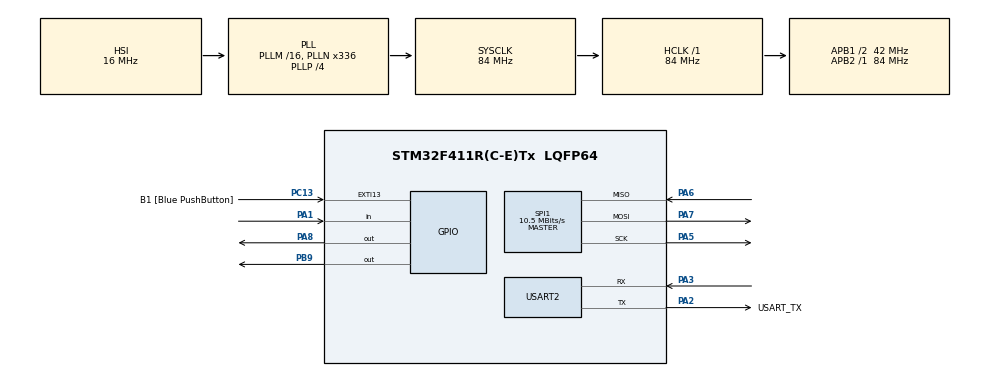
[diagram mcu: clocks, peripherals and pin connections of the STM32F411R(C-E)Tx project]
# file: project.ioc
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Mcu.Family=STM32F4
Mcu.Name=STM32F411R(C-E)Tx
Mcu.Package=LQFP64
NVIC.PriorityGroup=NVIC_PRIORITYGROUP_0
PA0-WKUP.Signal=S_TIM2_CH1_ETR
PA1.Signal=GPIO_Input
PA13.Mode=Serial_Wire
PA13.Signal=SYS_JTMS-SWDIO
PA14.GPIO_Label=TCK
PA14.Mode=Serial_Wire
PA14.Signal=SYS_JTCK-SWCLK
PA2.GPIO_Label=USART_TX
PA2.Mode=Asynchronous
PA2.Signal=USART2_TX
PA3.Mode=Asynchronous
PA3.Signal=USART2_RX
PA5.Mode=Full_Duplex_Master
PA5.Signal=SPI1_SCK
PA6.Mode=Full_Duplex_Master
PA6.Signal=SPI1_MISO
PA7.Mode=Full_Duplex_Master
PA7.Signal=SPI1_MOSI
PA8.Signal=GPIO_Output
PB3.GPIO_Label=SWO
PB3.Signal=SYS_JTDO-SWO
PB9.Signal=GPIO_Output
PC13-ANTI_TAMP.GPIO_Label=B1 [Blue PushButton]
PC13-ANTI_TAMP.GPIO_ModeDefaultEXTI=GPIO_MODE_IT_FALLING
PC13-ANTI_TAMP.Signal=GPXTI13
PC14-OSC32_IN.Mode=LSE-External-Oscillator
PC14-OSC32_IN.Signal=RCC_OSC32_IN
PC15-OSC32_OUT.Mode=LSE-External-Oscillator
PC15-OSC32_OUT.Signal=RCC_OSC32_OUT
PH0\ -\ OSC_IN.Mode=HSE-External-Oscillator
PH0\ -\ OSC_IN.Signal=RCC_OSC_IN
PH1\ -\ OSC_OUT.Mode=HSE-External-Oscillator
PH1\ -\ OSC_OUT.Signal=RCC_OSC_OUT
ProjectManager.HeapSize=0x200
ProjectManager.StackSize=0x400
ProjectManager.TargetToolchain=STM32CubeIDE
RCC.48MHZClocksFreq_Value=84000000
RCC.AHBFreq_Value=84000000
RCC.APB1CLKDivider=RCC_HCLK_DIV2
RCC.APB1Freq_Value=42000000
RCC.APB1TimFreq_Value=84000000
RCC.APB2Freq_Value=84000000
RCC.APB2TimFreq_Value=84000000
RCC.CortexFreq_Value=84000000
RCC.FLatency-AdvancedSettings=FLASH_LATENCY_2
RCC.HCLKFreq_Value=84000000
RCC.HSE_VALUE=8000000
RCC.HSI_VALUE=16000000
RCC.PLLN=336
RCC.PLLP=RCC_PLLP_DIV4
RCC.SYSCLKFreq_VALUE=84000000
RCC.SYSCLKSource=RCC_SYSCLKSOURCE_PLLCLK
RCC.VCOOutputFreq_Value=336000000
SH.S_TIM2_CH1_ETR.0=TIM2_CH1
SPI1.BaudRatePrescaler=SPI_BAUDRATEPRESCALER_8
SPI1.CalculateBaudRate=10.5 MBits/s
SPI1.Direction=SPI_DIRECTION_2LINES
SPI1.Mode=SPI_MODE_MASTER
SPI1.VirtualType=VM_MASTER
TIM2.Channel-PWM\ Generation1\ No\ Output=TIM_CHANNEL_1
TIM2.Channel-PWM\ Generation2\ No\ Output=TIM_CHANNEL_2
TIM2.Channel-PWM\ Generation4\ No\ Output=TIM_CHANNEL_4
USART2.VirtualMode=VM_ASYNC
VP_TIM2_VS_no_output1.Mode=PWM Generation1 No Output
VP_TIM2_VS_no_output2.Mode=PWM Generation2 No Output
VP_TIM2_VS_no_output4.Mode=PWM Generation4 No Output
board=NUCLEO-F411RE

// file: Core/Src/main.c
/* USER CODE BEGIN Header */
/**
  ******************************************************************************
  * @file           : main.c
  * @brief          : Main program body
  ******************************************************************************
  * @attention
  *
  * Copyright (c) 2025 STMicroelectronics.
  * All rights reserved.
  *
  * This software is licensed under terms that can be found in the LICENSE file
  * in the root directory of this software component.
  * If no LICENSE file comes with this software, it is provided AS-IS.
  *
  ******************************************************************************
  */
/* USER CODE END Header */
#include "main.h"
#include "tim.h"
#include "gpio.h"
#include "RC522.h"
#include "string.h"
#include "usart.h"
#include "stm32f4xx_hal.h"
#include "spi.h"
#include "stdio.h"

/* USER CODE BEGIN PV */

uint8_t status;
uint8_t str[16];
uint8_t sNum[5];

uint8_t flag = 1;

/* USER CODE END PV */

void SystemClock_Config(void);

/* USER CODE BEGIN 0 */

// Função para tocar o buzzer
void playTone(uint16_t frequency) {
    uint32_t timerClock = 84000000; // Clock do timer (84 MHz)
    uint32_t prescaler = 16;
    uint32_t period = (timerClock / (prescaler * frequency)) - 1;

    __HAL_TIM_SET_PRESCALER(&htim2, prescaler - 1);
    __HAL_TIM_SET_AUTORELOAD(&htim2, period);
    __HAL_TIM_SET_COMPARE(&htim2, TIM_CHANNEL_1, period / 2); // 50% duty cycle

    HAL_TIM_PWM_Start(&htim2, TIM_CHANNEL_1);
}

// Função para parar o buzzer
void stopTone() {
    HAL_TIM_PWM_Stop(&htim2, TIM_CHANNEL_1);
}

/* USER CODE END 0 */

int main(void)
{

  /* MCU Configuration--------------------------------------------------------*/

  /* Reset of all peripherals, Initializes the Flash interface and the Systick. */
	HAL_Init();

  /* Configure the system clock */
  SystemClock_Config();

  /* Initialize all configured peripherals */
  MX_GPIO_Init();
  MX_TIM2_Init();
  MX_USART2_UART_Init();
  MX_SPI1_Init();

  /* USER CODE BEGIN 2 */

  MFRC522_Init();

  /* USER CODE END 2 */

  /* Infinite loop */
  /* USER CODE BEGIN WHILE */

  //GPIO_PinState sensorState = GPIO_PIN_RESET; // Começa com o sensor em estado RESET

  while (1) {
      HAL_Delay(5);  // Pequeno delay para evitar leituras contínuas excessivas

      // Tenta ler o cartão RFID
      status = MFRC522_Request(PICC_REQIDL, str);
      status = MFRC522_Anticoll(str);
      memcpy(sNum, str, 5);

      // Verifica se o cartão autorizado foi detectado
      if((str[0] == 239) && (str[1] == 112) && (str[2] == 130) && (str[3] == 30) && (str[4] == 3)) {
          flag = !flag;  // Inverte o estado da flag (liga/desliga o alarme)

          if(flag == 0) {
              // Cartão autorizado desativou o alarme
              stopTone();  // Para o buzzer imediatamente se estiver tocando
          }

          HAL_Delay(1000);  // Delay para evitar leituras múltiplas do mesmo cartão
      }

      // Verifica o estado do sensor de movimento apenas se o alarme estiver ativo
      if(flag == 1) {
          if(HAL_GPIO_ReadPin(GPIOA, GPIO_PIN_1) == GPIO_PIN_SET) {
        	  while(flag == 1){
				  // Alarme ativado E movimento detectado: tocar alarme
				  playTone(1000);  // Toca o buzzer
				  HAL_Delay(450);  // Mantém o tom por 500ms
				  stopTone();      // Pausa o tom por 500ms
				  HAL_Delay(100);

			      // Tenta ler o cartão RFID
			      status = MFRC522_Request(PICC_REQIDL, str);
			      status = MFRC522_Anticoll(str);
			      memcpy(sNum, str, 5);

			      if((str[0] == 239) && (str[1] == 112) && (str[2] == 130) && (str[3] == 30) && (str[4] == 3)) {
			                flag = !flag;  // Inverte o estado da flag (liga/desliga o alarme)

			                // Cartão autorizado desativou o alarme
			                stopTone();  // Para o buzzer imediatamente se estiver tocando
			                HAL_Delay(1000);  // Delay para evitar leituras múltiplas do mesmo cartão
			            }
        	  }
          }
      } else {
          // Alarme está desativado, nunca tocar o buzzer
          stopTone();
      }
  }
}

void SystemClock_Config(void)
{
  RCC_OscInitTypeDef RCC_OscInitStruct = {0};
  RCC_ClkInitTypeDef RCC_ClkInitStruct = {0};

  /** Configure the main internal regulator output voltage
  */
  __HAL_RCC_PWR_CLK_ENABLE();
  __HAL_PWR_VOLTAGESCALING_CONFIG(PWR_REGULATOR_VOLTAGE_SCALE1);

  /** Initializes the RCC Oscillators according to the specified parameters
  * in the RCC_OscInitTypeDef structure.
  */
  RCC_OscInitStruct.OscillatorType = RCC_OSCILLATORTYPE_HSI;
  RCC_OscInitStruct.HSIState = RCC_HSI_ON;
  RCC_OscInitStruct.HSICalibrationValue = RCC_HSICALIBRATION_DEFAULT;
  RCC_OscInitStruct.PLL.PLLState = RCC_PLL_ON;
  RCC_OscInitStruct.PLL.PLLSource = RCC_PLLSOURCE_HSI;
  RCC_OscInitStruct.PLL.PLLM = 16;
  RCC_OscInitStruct.PLL.PLLN = 336;
  RCC_OscInitStruct.PLL.PLLP = RCC_PLLP_DIV4;
  RCC_OscInitStruct.PLL.PLLQ = 4;
  if (HAL_RCC_OscConfig(&RCC_OscInitStruct) != HAL_OK)
  {
    Error_Handler();
  }

  /** Initializes the CPU, AHB and APB buses clocks
  */
  RCC_ClkInitStruct.ClockType = RCC_CLOCKTYPE_HCLK|RCC_CLOCKTYPE_SYSCLK
                              |RCC_CLOCKTYPE_PCLK1|RCC_CLOCKTYPE_PCLK2;
  RCC_ClkInitStruct.SYSCLKSource = RCC_SYSCLKSOURCE_PLLCLK;
  RCC_ClkInitStruct.AHBCLKDivider = RCC_SYSCLK_DIV1;
  RCC_ClkInitStruct.APB1CLKDivider = RCC_HCLK_DIV2;
  RCC_ClkInitStruct.APB2CLKDivider = RCC_HCLK_DIV1;

  if (HAL_RCC_ClockConfig(&RCC_ClkInitStruct, FLASH_LATENCY_2) != HAL_OK)
  {
    Error_Handler();
  }
}

void Error_Handler(void)
{
  __disable_irq();
  while (1)
  {
  }
}
